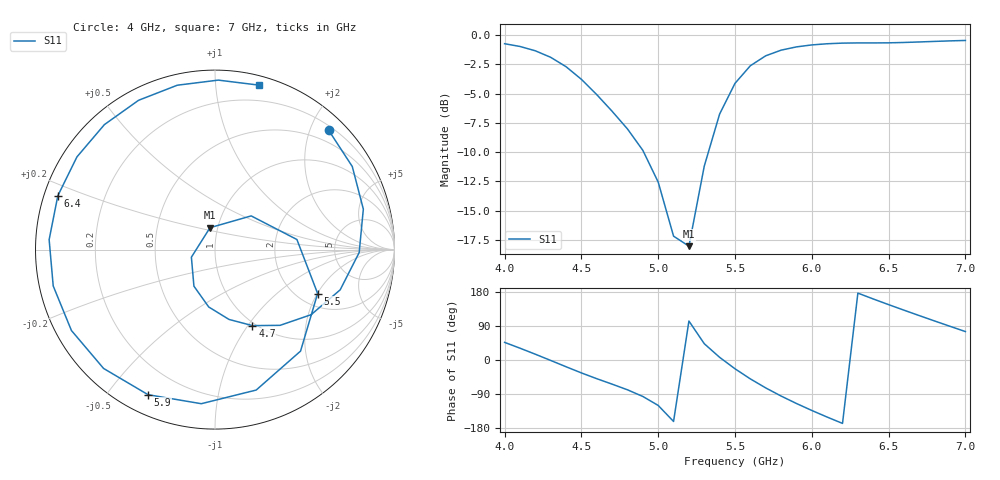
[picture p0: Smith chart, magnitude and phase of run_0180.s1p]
! Touchstone file exported from HFSS 2024.2.0
!  File:  C:/Users/wsak9/Desktop/Sim Fast/Widenad Patch/WP_AI_V1_sweep.aedt
!  Generated:  10:27:17 PM Oct 13, 2026
!  Design:  A1_model
!  Project:  WP_AI_V1_sweep
!  Setup:  Setup1
!  Solution:  Sweep
! Variables:
!  Air_gap = 3.93mm
!  Curve_Amp1 = 0.65
!  Curve_len1 = 1
!  Curve_pos = 11.66mm
!  Extra = 3.72mm
!  H_sub = 0.79mm
!  L_Patch = 19.32mm
!  L_Patch1 = 18.71mm
!  Sx = 4.89mm
!  Sy = 3.05mm
!  WS = 1.33mm
!  W_Patch = 21.69mm
!  W_Patch1 = 14.99mm
!Data is not renormalized
# GHz S MA
! Terminal data exported
! Port[1] = 1
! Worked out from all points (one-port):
!   31 points, 4 GHz to 7 GHz, reference per port
!   lowest |S11| = -18.0 dB at 5.2 GHz (marker M1), VSWR 1.29
!   |S11| at or under -10 dB: 4.905 GHz to 5.327 GHz (421.6 MHz wide, 8.24 % of centre)
!   S11 on the Smith chart (normalised r, x): 4 GHz: 0.27, +2.30; 4.7 GHz: 0.96, -1.05; 5.5 GHz: 2.52, -2.01; 5.9 GHz: 0.08, -0.64; 6.4 GHz: 0.04, +0.17; 7 GHz: 0.07, +1.30
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4  0.9185 46.5
4.1  0.894 31.2
4.2  0.8567 15.3
4.3  0.8035 -1.2
4.4  0.7326 -17.8
4.5  0.6469 -34.1
4.6  0.5563 -49.3
4.7  0.4723 -63.7
4.8  0.3969 -78.7
5  0.2352 -119.9
5.1  0.1382 -162.2
5.2  0.1252 102.8
5.3  0.2755 43.0
5.4  0.4599 7.0
5.5  0.6219 -23.2
5.6  0.7396 -49.9
5.7  0.8155 -73.7
5.8  0.862 -95.1
5.9  0.8903 -114.8
6  0.9076 -133.1
6.1  0.9182 -150.6
6.2  0.9239 -167.3
6.3  0.9257 176.6
6.4  0.9256 161.1
6.5  0.9265 146.1
6.7  0.9345 117.1
6.9  0.9445 88.9
7  0.9484 75.0
